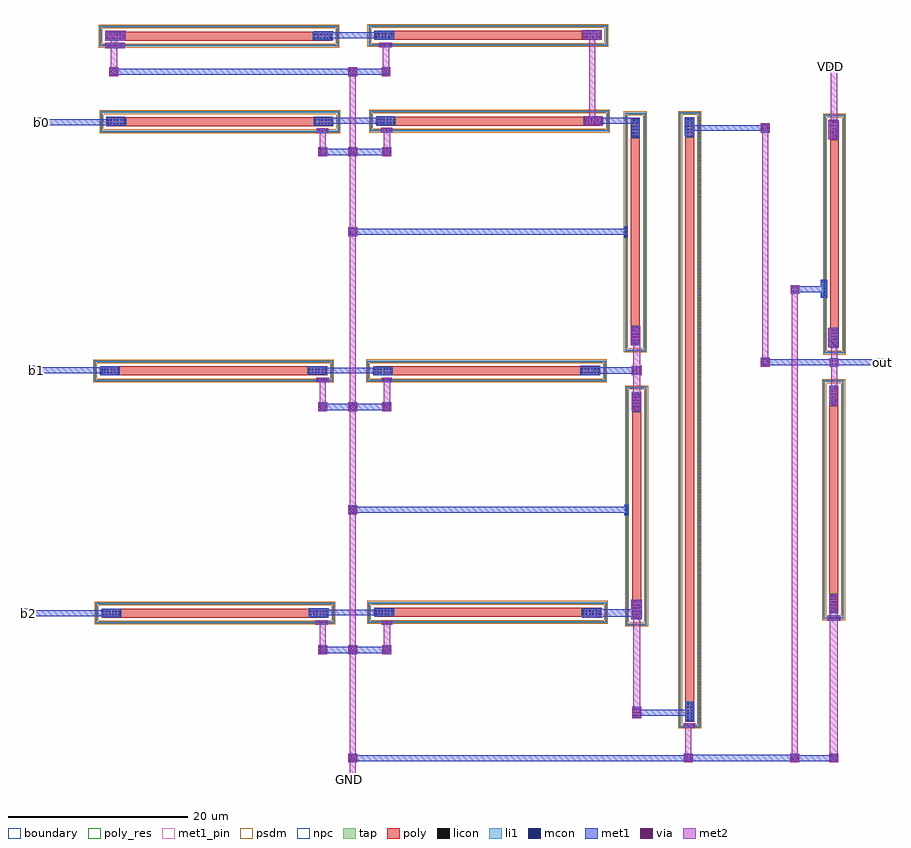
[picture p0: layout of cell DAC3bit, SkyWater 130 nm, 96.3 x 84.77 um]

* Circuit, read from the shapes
.subckt DAC3bit GND VDD b0 b1 b2 out
R1 sky130_fd_pr__res_generic_po_2VQQNW_7/R1 b1 sky130_fd_pr__res_generic_po w=1 l=21
R2 sky130_fd_pr__res_generic_po_2VQQNW_5/R1 b2 sky130_fd_pr__res_generic_po w=1 l=21
R3 sky130_fd_pr__res_generic_po_2VQQNW_11/R1 GND sky130_fd_pr__res_generic_po w=1 l=21
R4 sky130_fd_pr__res_generic_po_2VQQNW_10/R1 b0 sky130_fd_pr__res_generic_po w=1 l=21
R5 sky130_fd_pr__res_generic_po_2VQQNW_3/R1 sky130_fd_pr__res_generic_po_2VQQNW_7/R1 sky130_fd_pr__res_generic_po w=1 l=21
R6 sky130_fd_pr__res_generic_po_2VQQNW_3/R2 sky130_fd_pr__res_generic_po_2VQQNW_5/R1 sky130_fd_pr__res_generic_po w=1 l=21
R7 sky130_fd_pr__res_generic_po_2VQQNW_9/R1 sky130_fd_pr__res_generic_po_2VQQNW_11/R1 sky130_fd_pr__res_generic_po w=1 l=21
R8 sky130_fd_pr__res_generic_po_2VQQNW_9/R1 sky130_fd_pr__res_generic_po_2VQQNW_10/R1 sky130_fd_pr__res_generic_po w=1 l=21
R9 sky130_fd_pr__res_generic_po_2VQQNW_9/R1 sky130_fd_pr__res_generic_po_2VQQNW_3/R1 sky130_fd_pr__res_generic_po w=1 l=21
R10 sky130_fd_pr__res_generic_po_2VQQNW_3/R1 sky130_fd_pr__res_generic_po_2VQQNW_3/R2 sky130_fd_pr__res_generic_po w=1 l=21
R11 out sky130_fd_pr__res_generic_po_2VQQNW_3/R2 sky130_fd_pr__res_generic_po w=1 l=63
R12 out GND sky130_fd_pr__res_generic_po w=1 l=21
R13 VDD out sky130_fd_pr__res_generic_po w=1 l=21
.ends

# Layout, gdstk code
from math import pi, radians
import gdstk
lib = gdstk.Library(unit=1e-6, precision=1e-09)
def R(c, l, rs):  # rectangles x0, y0, x1, y1
    for r in rs: c.add(gdstk.rectangle(r[:2], r[2:], *l))
def A(c, l, x, y, w, h, nx, ny, dx, dy):  # array of equal rectangles
    R(c, l, [(x+i*dx, y+j*dy, x+i*dx+w, y+j*dy+h) for i in range(nx) for j in range(ny)])
tap = (65, 44)
poly_res = (66, 13)
poly = (66, 20)
licon = (66, 44)
li1 = (67, 20)
mcon = (67, 44)
met1_pin = (68, 16)
met1 = (68, 20)
via = (68, 44)
met2 = (69, 20)
psdm = (94, 20)
npc = (95, 20)
boundary = (235, 4)

sky130_fd_pr__res_generi = lib.new_cell('sky130_fd_pr__res_generic_po_2VQQNW')
R(sky130_fd_pr__res_generi, tap, [(-1.15,-13.3,1.15,-13.13), (-1.15,-13.13,-0.98,13.13), (0.98,-13.13,1.15,13.13), (-1.15,13.13,1.15,13.3)])
R(sky130_fd_pr__res_generi, poly_res, [(-0.5,-10.5,0.5,10.5)])
R(sky130_fd_pr__res_generi, poly, [(-0.5,-12.65,0.5,12.65)])
A(sky130_fd_pr__res_generi, licon, -0.595, -13.3, 0.17, 0.17, 4, 2, 0.34, 26.43)
A(sky130_fd_pr__res_generi, licon, -1.15, -12.665, 0.17, 0.17, 1, 75, 0, 0.34)
A(sky130_fd_pr__res_generi, licon, 0.98, -12.665, 0.17, 0.17, 1, 75, 0, 0.34)
R(sky130_fd_pr__res_generi, licon, [(-0.255,-12.57,-0.085,-12.4), (0.085,-12.57,0.255,-12.4), (-0.255,12.4,-0.085,12.57), (0.085,12.4,0.255,12.57)])
R(sky130_fd_pr__res_generi, li1, [(-1.15,-13.3,1.15,-13.13), (-1.15,-13.13,-0.98,13.13), (0.98,-13.13,1.15,13.13), (-0.5,-12.57,0.5,-12.4), (-0.42,-12.4,0.42,-10.585), (-0.42,10.585,0.42,12.4), (-0.5,12.4,0.5,12.57), (-1.15,13.13,1.15,13.3)])
A(sky130_fd_pr__res_generi, mcon, -0.265, -12.565, 0.17, 0.17, 1, 6, 0, 0.36)
A(sky130_fd_pr__res_generi, mcon, 0.095, -12.565, 0.17, 0.17, 1, 6, 0, 0.36)
A(sky130_fd_pr__res_generi, mcon, -0.265, 10.59, 0.17, 0.17, 1, 6, 0, 0.36)
A(sky130_fd_pr__res_generi, mcon, 0.095, 10.59, 0.17, 0.17, 1, 6, 0, 0.36)
R(sky130_fd_pr__res_generi, met1, [(-0.45,-12.63,0.45,-10.525), (-0.45,10.525,0.45,12.63)])
R(sky130_fd_pr__res_generi, psdm, [(-1.275,-13.425,1.275,-13.005), (-1.275,-13.005,-0.855,13.005), (0.855,-13.005,1.275,13.005), (-1.275,13.005,1.275,13.425)])
R(sky130_fd_pr__res_generi, npc, [(-0.355,-12.67,0.355,-12.3), (-0.355,12.3,0.355,12.67)])
R(sky130_fd_pr__res_generi, boundary, [(-1.065,-13.215,1.065,13.215)])
sky130_fd_pr__res_generi.add(gdstk.Label('B', (0,-13.215), layer=67, texttype=5))
sky130_fd_pr__res_generi.add(gdstk.Label('R1', (0,12.485), layer=67, texttype=5))
sky130_fd_pr__res_generi.add(gdstk.Label('R2', (0,-12.485), layer=67, texttype=5))

c_sky130_fd_pr__res_generi = lib.new_cell('sky130_fd_pr__res_generic_po_9W8GJE')
R(c_sky130_fd_pr__res_generi, tap, [(-1.15,-34.3,1.15,-34.13), (-1.15,-34.13,-0.98,34.13), (0.98,-34.13,1.15,34.13), (-1.15,34.13,1.15,34.3)])
R(c_sky130_fd_pr__res_generi, poly_res, [(-0.5,-31.5,0.5,31.5)])
R(c_sky130_fd_pr__res_generi, poly, [(-0.5,-33.65,0.5,33.65)])
A(c_sky130_fd_pr__res_generi, licon, -0.595, -34.3, 0.17, 0.17, 4, 2, 0.34, 68.43)
A(c_sky130_fd_pr__res_generi, licon, -1.15, -33.745, 0.17, 0.17, 1, 199, 0, 0.34)
A(c_sky130_fd_pr__res_generi, licon, 0.98, -33.745, 0.17, 0.17, 1, 199, 0, 0.34)
R(c_sky130_fd_pr__res_generi, licon, [(-0.255,-33.57,-0.085,-33.4), (0.085,-33.57,0.255,-33.4), (-0.255,33.4,-0.085,33.57), (0.085,33.4,0.255,33.57)])
R(c_sky130_fd_pr__res_generi, li1, [(-1.15,-34.3,1.15,-34.13), (-1.15,-34.13,-0.98,34.13), (0.98,-34.13,1.15,34.13), (-0.5,-33.57,0.5,-33.4), (-0.42,-33.4,0.42,-31.585), (-0.42,31.585,0.42,33.4), (-0.5,33.4,0.5,33.57), (-1.15,34.13,1.15,34.3)])
A(c_sky130_fd_pr__res_generi, mcon, -0.265, -33.565, 0.17, 0.17, 1, 6, 0, 0.36)
A(c_sky130_fd_pr__res_generi, mcon, 0.095, -33.565, 0.17, 0.17, 1, 6, 0, 0.36)
A(c_sky130_fd_pr__res_generi, mcon, -0.265, 31.59, 0.17, 0.17, 1, 6, 0, 0.36)
A(c_sky130_fd_pr__res_generi, mcon, 0.095, 31.59, 0.17, 0.17, 1, 6, 0, 0.36)
R(c_sky130_fd_pr__res_generi, met1, [(-0.45,-33.63,0.45,-31.525), (-0.45,31.525,0.45,33.63)])
R(c_sky130_fd_pr__res_generi, psdm, [(-1.275,-34.425,1.275,-34.005), (-1.275,-34.005,-0.855,34.005), (0.855,-34.005,1.275,34.005), (-1.275,34.005,1.275,34.425)])
R(c_sky130_fd_pr__res_generi, npc, [(-0.355,-33.67,0.355,-33.3), (-0.355,33.3,0.355,33.67)])
R(c_sky130_fd_pr__res_generi, boundary, [(-1.065,-34.215,1.065,34.215)])
c_sky130_fd_pr__res_generi.add(gdstk.Label('B', (0,-34.215), layer=67, texttype=5))
c_sky130_fd_pr__res_generi.add(gdstk.Label('R1', (0,33.485), layer=67, texttype=5))
c_sky130_fd_pr__res_generi.add(gdstk.Label('R2', (0,-33.485), layer=67, texttype=5))

dac3bit = lib.new_cell('DAC3bit')
R(dac3bit, li1, [(8.1,-63.3,8.7,-62.7), (8,-61.1,8.8,-60.3), (45.4,-61.1,46.2,-60.3), (57.3,-61.1,58.1,-60.3), (61.65,-61.1,62.45,-60.3), (45.4,-57.25,46.5,-56.95), (39.65,-56.15,40.45,-55.1), (4.65,-49.05,5.45,-48.25), (8,-49.05,8.8,-48.25), (11.8,-49.05,12.6,-48.25), (4.35,-45.75,5.5,-45.45), (11.7,-45.75,12.7,-45.5), (61.45,-45.3,62.65,-44.9), (38.75,-33.55,39.05,-32.55), (8,-33.4,8.8,-32.6), (4.65,-21.95,5.45,-21.15), (8,-21.95,8.8,-21.15), (11.8,-21.95,12.6,-21.15), (4.4,-18.7,5.6,-18.4), (11.75,-18.7,12.65,-18.4), (39.6,-17.9,40.5,-17.05), (54,-16.95,54.8,-16.15), (61.7,-16.95,62.45,-16.2), (60.7,-9.25,61.2,-7.45), (57.35,-8.8,58.1,-8.05), (38.75,-2.55,39,-1.55), (8,-2.4,8.8,-1.6), (4.65,6.5,5.45,7.3), (8,6.5,8.8,7.3), (11.8,6.5,12.6,7.3), (4.5,9.1,5.55,9.45), (11.65,9.15,12.7,9.5), (54,9.15,54.8,10), (-18.65,15.45,-17.85,16.25), (8,15.45,8.8,16.25), (11.7,15.45,12.5,16.25), (61.8,16.05,62.35,16.6), (-19.1,18.55,-17.15,19), (11.45,18.65,12.7,19)])
A(dac3bit, mcon, 45.505, -57.185, 0.17, 0.17, 3, 1, 0.36, 0)
A(dac3bit, mcon, 39.785, -56.07, 0.17, 0.17, 1, 3, 0, 0.36)
A(dac3bit, mcon, 40.145, -56.07, 0.17, 0.17, 1, 3, 0, 0.36)
A(dac3bit, mcon, 11.755, -45.71, 0.17, 0.17, 3, 2, 0.36, 27.075)
A(dac3bit, mcon, 4.48, -45.685, 0.17, 0.17, 3, 1, 0.36, 0)
A(dac3bit, mcon, 61.605, -45.185, 0.17, 0.17, 3, 1, 0.36, 0)
A(dac3bit, mcon, 38.815, -33.495, 0.17, 0.17, 1, 3, 0, 0.36)
A(dac3bit, mcon, 4.555, -18.635, 0.17, 0.17, 3, 1, 0.36, 0)
A(dac3bit, mcon, 39.605, -17.74, 0.17, 0.17, 3, 2, 0.36, 0.36)
A(dac3bit, mcon, 60.865, -9.155, 0.17, 0.17, 1, 5, 0, 0.36)
A(dac3bit, mcon, 38.79, -2.495, 0.17, 0.17, 1, 3, 0, 0.36)
A(dac3bit, mcon, 4.58, 9.19, 0.17, 0.17, 3, 1, 0.36, 0)
A(dac3bit, mcon, 11.73, 9.24, 0.17, 0.17, 3, 1, 0.36, 0)
A(dac3bit, mcon, -18.93, 18.69, 0.17, 0.17, 5, 1, 0.36, 0)
A(dac3bit, mcon, 11.45, 18.74, 0.17, 0.17, 4, 1, 0.36, 0)
R(dac3bit, mcon, [(8.135,-63.265,8.305,-63.095), (8.495,-63.265,8.665,-63.095), (8.135,-62.905,8.305,-62.735), (8.495,-62.905,8.665,-62.735), (8.135,-60.965,8.305,-60.795), (8.495,-60.965,8.665,-60.795), (45.535,-60.965,45.705,-60.795), (45.895,-60.965,46.065,-60.795), (57.435,-60.965,57.605,-60.795), (57.795,-60.965,57.965,-60.795), (61.785,-60.965,61.955,-60.795), (62.145,-60.965,62.315,-60.795), (8.135,-60.605,8.305,-60.435), (8.495,-60.605,8.665,-60.435), (45.535,-60.605,45.705,-60.435), (45.895,-60.605,46.065,-60.435), (57.435,-60.605,57.605,-60.435), (57.795,-60.605,57.965,-60.435), (61.785,-60.605,61.955,-60.435), (62.145,-60.605,62.315,-60.435), (4.785,-48.915,4.955,-48.745), (5.145,-48.915,5.315,-48.745), (8.135,-48.915,8.305,-48.745), (8.495,-48.915,8.665,-48.745), (11.935,-48.915,12.105,-48.745), (12.295,-48.915,12.465,-48.745), (4.785,-48.555,4.955,-48.385), (5.145,-48.555,5.315,-48.385), (8.135,-48.555,8.305,-48.385), (8.495,-48.555,8.665,-48.385), (11.935,-48.555,12.105,-48.385), (12.295,-48.555,12.465,-48.385), (8.135,-33.265,8.305,-33.095), (8.495,-33.265,8.665,-33.095), (8.135,-32.905,8.305,-32.735), (8.495,-32.905,8.665,-32.735), (4.785,-21.815,4.955,-21.645), (5.145,-21.815,5.315,-21.645), (8.135,-21.815,8.305,-21.645), (8.495,-21.815,8.665,-21.645), (11.935,-21.815,12.105,-21.645), (12.295,-21.815,12.465,-21.645), (4.785,-21.455,4.955,-21.285), (5.145,-21.455,5.315,-21.285), (8.135,-21.455,8.305,-21.285), (8.495,-21.455,8.665,-21.285), (11.935,-21.455,12.105,-21.285), (12.295,-21.455,12.465,-21.285), (61.81,-16.84,61.98,-16.67), (62.17,-16.84,62.34,-16.67), (54.135,-16.815,54.305,-16.645), (54.495,-16.815,54.665,-16.645), (61.81,-16.48,61.98,-16.31), (62.17,-16.48,62.34,-16.31), (54.135,-16.455,54.305,-16.285), (54.495,-16.455,54.665,-16.285), (57.46,-8.69,57.63,-8.52), (57.82,-8.69,57.99,-8.52), (57.46,-8.33,57.63,-8.16), (57.82,-8.33,57.99,-8.16), (8.135,-2.265,8.305,-2.095), (8.495,-2.265,8.665,-2.095), (8.135,-1.905,8.305,-1.735), (8.495,-1.905,8.665,-1.735), (4.785,6.635,4.955,6.805), (5.145,6.635,5.315,6.805), (8.135,6.635,8.305,6.805), (8.495,6.635,8.665,6.805), (11.935,6.635,12.105,6.805), (12.295,6.635,12.465,6.805), (4.785,6.995,4.955,7.165), (5.145,6.995,5.315,7.165), (8.135,6.995,8.305,7.165), (8.495,6.995,8.665,7.165), (11.935,6.995,12.105,7.165), (12.295,6.995,12.465,7.165), (54.135,9.31,54.305,9.48), (54.495,9.31,54.665,9.48), (54.135,9.67,54.305,9.84), (54.495,9.67,54.665,9.84), (-18.515,15.585,-18.345,15.755), (-18.155,15.585,-17.985,15.755), (8.135,15.585,8.305,15.755), (8.495,15.585,8.665,15.755), (11.835,15.585,12.005,15.755), (12.195,15.585,12.365,15.755), (-18.515,15.945,-18.345,16.115), (-18.155,15.945,-17.985,16.115), (8.135,15.945,8.305,16.115), (8.495,15.945,8.665,16.115), (11.835,15.945,12.005,16.115), (12.195,15.945,12.365,16.115), (61.81,16.06,61.98,16.23), (62.17,16.06,62.34,16.23), (61.81,16.42,61.98,16.59), (62.17,16.42,62.34,16.59)])
R(dac3bit, met1_pin, [(7.9,-63.6,8.1,-62.6), (-28.3,-45.05,-27.3,-44.05), (-27.4,-17.95,-26.4,-16.95), (67,-17.1,68,-16.1), (-26.8,9.7,-25.8,10.7), (61.55,15.95,61.75,16.95)])
R(dac3bit, met1, [(7.9,-63.6,8.9,-62.6), (7.9,-61.2,8.9,-61.05), (45.3,-61.2,46.3,-61.05), (57.2,-61.2,58.2,-61.05), (61.55,-61.2,62.55,-61.05), (7.9,-61.05,62.55,-60.4), (7.9,-60.4,8.9,-60.2), (45.3,-60.4,58.2,-60.35), (61.55,-60.4,62.55,-60.2), (45.3,-60.35,46.3,-60.2), (57.2,-60.35,58.2,-60.2), (45.3,-57.35,46.6,-56.85), (45.5,-56.6,46.5,-56), (39.55,-56.25,40.55,-56), (39.55,-56,46.5,-55.3), (39.55,-55.3,40.55,-55), (45.5,-55.3,46.5,-54.4), (4.55,-49.15,5.55,-49), (7.9,-49.15,8.9,-49), (11.7,-49.15,12.7,-49), (4.55,-49,12.7,-48.3), (4.55,-48.3,5.55,-48.15), (7.9,-48.3,8.9,-48.15), (11.7,-48.3,12.7,-48.15), (4.25,-45.85,5.6,-45.35), (11.6,-45.85,12.8,-45.4), (61.35,-45.4,62.75,-44.8), (39.45,-45.25,40.6,-44.95), (-28.3,-45.05,-27.3,-44.9), (3.5,-45.05,3.65,-44.85), (34,-45.05,36.2,-44.95), (-19.6,-45,-17.55,-44.9), (34,-44.95,40.6,-44.1), (-28.3,-44.9,-17.5,-44.2), (3.5,-44.85,3.6,-44.8), (3.5,-44.8,13,-44.15), (61.55,-44.55,62.5,-42.4), (-28.3,-44.2,-27.3,-44.05), (-19.6,-44.2,-17.55,-44.05), (3.5,-44.15,5.7,-44), (10.8,-44.15,13,-44), (34,-44.1,36.2,-44), (39.45,-44.1,40.6,-43.05), (38.65,-33.65,39.15,-33.35), (7.9,-33.5,8.9,-33.35), (7.9,-33.35,39.15,-32.65), (7.9,-32.65,8.9,-32.5), (38.65,-32.65,39.15,-32.45), (4.55,-22.05,5.55,-21.9), (7.9,-22.05,8.9,-21.9), (11.7,-22.05,12.7,-21.9), (39.5,-22.05,40.55,-19.9), (4.55,-21.9,12.7,-21.2), (61.55,-21.4,62.5,-19.2), (4.55,-21.2,5.55,-21.05), (7.9,-21.2,8.9,-21.05), (11.7,-21.2,12.7,-21.05), (4.3,-18.8,5.7,-18.3), (11.65,-18.8,12.75,-18.3), (-19.75,-18,-17.65,-17.8), (10.65,-18,12.75,-17.8), (33.75,-18,36,-17.85), (39.5,-18,39.65,-17.95), (40.45,-18,40.6,-17.95), (-27.4,-17.95,-26.4,-17.8), (3.4,-17.95,5.5,-17.8), (39.5,-17.95,40.6,-17.85), (33.75,-17.85,40.6,-17.1), (-27.4,-17.8,-17.6,-17.1), (3.35,-17.8,12.85,-17.15), (3.4,-17.15,5.5,-17), (10.65,-17.15,12.75,-17.05), (-27.4,-17.1,-26.4,-16.95), (-19.75,-17.1,-17.65,-17), (33.75,-17.1,36,-16.95), (39.5,-17.1,40.6,-17), (67,-17.1,68,-16.9), (53.9,-17.05,54.9,-16.9), (61.6,-17.05,62.55,-16.9), (39.5,-17,39.65,-16.95), (40.45,-17,40.6,-16.95), (53.9,-16.9,68,-16.25), (53.9,-16.25,54.9,-16.05), (61.6,-16.25,62.55,-16.1), (67,-16.25,68,-16.1), (61.45,-14.9,62.5,-12.75), (39.4,-14.65,40.45,-12.5), (61.5,-12.75,62.45,-12.7), (60.6,-9.35,61.3,-8.75), (57.25,-8.9,58.2,-8.75), (57.25,-8.75,61.3,-8.1), (57.25,-8.1,58.2,-7.95), (60.6,-8.1,61.3,-7.35), (38.65,-2.65,39.05,-2.35), (7.9,-2.5,8.9,-2.35), (7.9,-2.35,39.05,-1.65), (7.9,-1.65,8.9,-1.5), (38.65,-1.65,39.05,-1.45), (4.55,6.4,5.55,6.55), (7.9,6.4,8.9,6.55), (11.7,6.4,12.7,6.55), (4.55,6.55,12.7,7.25), (4.55,7.25,5.55,7.4), (7.9,7.25,8.9,7.4), (11.7,7.25,12.7,7.4), (61.45,8.3,62.55,10.5), (39.45,8.5,40.4,10.05), (45.4,8.65,46.5,9.25), (4.4,9,5.65,9.55), (11.55,9.05,12.8,9.6), (53.9,9.05,54.9,9.25), (45.4,9.25,54.9,9.9), (-26.8,9.7,-25.8,9.85), (-26.8,9.85,-17,10.55), (4.05,9.85,6.15,10.05), (34.15,9.85,36.3,10.05), (11,9.9,13.1,10.05), (45.4,9.9,46.5,10.75), (53.9,9.9,54.9,10.1), (4.05,10.05,13.1,10.7), (34.15,10.05,40.4,10.7), (-26.8,10.55,-25.8,10.7), (-19.1,10.55,-17,10.8), (4.05,10.7,6.15,10.8), (11,10.7,13.1,10.85), (34.15,10.7,36.3,10.85), (-18.75,15.35,-17.75,15.5), (7.9,15.35,8.9,15.5), (11.6,15.35,12.6,15.5), (-18.75,15.5,12.6,16.2), (61.55,15.95,62.55,16.95), (-18.75,16.2,-17.75,16.35), (7.9,16.2,8.9,16.35), (11.6,16.2,12.6,16.35), (-19.2,18.45,-17.05,19.1), (11.35,18.55,12.8,19.1), (-19.2,19.3,-16.95,20.35), (4.05,19.35,6.2,19.6), (10.8,19.4,12.95,19.6), (34,19.45,36.15,20.45), (3.95,19.6,13.005,20.25), (4.05,20.25,6.2,20.35), (10.8,20.25,12.95,20.4)])
A(dac3bit, via, 8.005, -61.095, 0.15, 0.15, 3, 3, 0.32, 0.32)
A(dac3bit, via, 45.405, -61.095, 0.15, 0.15, 3, 3, 0.32, 0.32)
A(dac3bit, via, 57.305, -61.095, 0.15, 0.15, 3, 3, 0.32, 0.32)
A(dac3bit, via, 61.655, -61.095, 0.15, 0.15, 3, 3, 0.32, 0.32)
A(dac3bit, via, 45.555, -57.175, 0.15, 0.15, 3, 1, 0.32, 0)
A(dac3bit, via, 39.655, -56.02, 0.15, 0.15, 3, 3, 0.32, 0.32)
A(dac3bit, via, 4.655, -49.045, 0.15, 0.15, 3, 3, 0.32, 0.32)
A(dac3bit, via, 8.005, -49.045, 0.15, 0.15, 3, 3, 0.32, 0.32)
A(dac3bit, via, 11.805, -49.045, 0.15, 0.15, 3, 3, 0.32, 0.32)
A(dac3bit, via, 11.805, -45.7, 0.15, 0.15, 3, 2, 0.32, 23.755)
A(dac3bit, via, 4.37, -45.675, 0.15, 0.15, 4, 1, 0.32, 0)
A(dac3bit, via, 61.495, -45.175, 0.15, 0.15, 4, 1, 0.32, 0)
A(dac3bit, via, 39.63, -45, 0.15, 0.15, 3, 6, 0.32, 0.32)
A(dac3bit, via, 61.655, -44.35, 0.15, 0.15, 3, 6, 0.32, 0.32)
A(dac3bit, via, 8.005, -33.395, 0.15, 0.15, 3, 3, 0.32, 0.32)
A(dac3bit, via, 4.655, -21.945, 0.15, 0.15, 3, 3, 0.32, 0.32)
A(dac3bit, via, 8.005, -21.945, 0.15, 0.15, 3, 3, 0.32, 0.32)
A(dac3bit, via, 39.63, -21.825, 0.15, 0.15, 3, 6, 0.32, 0.32)
A(dac3bit, via, 11.805, -21.625, 0.15, 0.15, 3, 2, 0.32, 0.32)
A(dac3bit, via, 61.79, -21.15, 0.15, 0.15, 1, 6, 0, 0.32)
A(dac3bit, via, 62.11, -21.15, 0.15, 0.15, 1, 6, 0, 0.32)
A(dac3bit, via, 4.445, -18.625, 0.15, 0.15, 4, 1, 0.32, 0)
A(dac3bit, via, 11.805, -18.625, 0.15, 0.15, 3, 2, 0.32, 25.13)
A(dac3bit, via, 39.655, -17.87, 0.15, 0.15, 3, 3, 0.32, 0.32)
A(dac3bit, via, 54.005, -16.945, 0.15, 0.15, 3, 3, 0.32, 0.32)
A(dac3bit, via, 61.74, -14.7, 0.15, 0.15, 1, 6, 0, 0.32)
A(dac3bit, via, 62.06, -14.7, 0.15, 0.15, 1, 6, 0, 0.32)
A(dac3bit, via, 39.53, -14.45, 0.15, 0.15, 3, 6, 0.32, 0.32)
A(dac3bit, via, 8.005, -2.395, 0.15, 0.15, 3, 3, 0.32, 0.32)
A(dac3bit, via, 4.655, 6.505, 0.15, 0.15, 3, 3, 0.32, 0.32)
A(dac3bit, via, 8.005, 6.505, 0.15, 0.15, 3, 3, 0.32, 0.32)
A(dac3bit, via, 11.805, 6.825, 0.15, 0.15, 3, 2, 0.32, 0.32)
A(dac3bit, via, 61.58, 8.5, 0.15, 0.15, 3, 6, 0.32, 0.32)
A(dac3bit, via, 54.005, 9.18, 0.15, 0.15, 3, 3, 0.32, 0.32)
A(dac3bit, via, 4.63, 9.2, 0.15, 0.15, 3, 1, 0.32, 0)
A(dac3bit, via, 11.78, 9.25, 0.15, 0.15, 3, 1, 0.32, 0)
A(dac3bit, via, 34.325, 9.955, 0.15, 0.15, 6, 3, 0.32, 0.32)
A(dac3bit, via, -18.645, 15.455, 0.15, 0.15, 3, 3, 0.32, 0.32)
A(dac3bit, via, 8.005, 15.455, 0.15, 0.15, 3, 3, 0.32, 0.32)
A(dac3bit, via, 11.705, 15.455, 0.15, 0.15, 3, 3, 0.32, 0.32)
A(dac3bit, via, -19, 18.7, 0.15, 0.15, 6, 1, 0.32, 0)
A(dac3bit, via, 11.52, 18.75, 0.15, 0.15, 4, 1, 0.32, 0)
A(dac3bit, via, -18.925, 19.48, 0.15, 0.15, 6, 3, 0.32, 0.32)
A(dac3bit, via, 34.175, 19.69, 0.15, 0.15, 6, 2, 0.32, 0.32)
R(dac3bit, via, [(8.165,-63.235,8.315,-63.085), (8.485,-63.235,8.635,-63.085), (8.165,-62.915,8.315,-62.765), (8.485,-62.915,8.635,-62.765), (61.84,-16.81,61.99,-16.66), (62.16,-16.81,62.31,-16.66), (61.84,-16.49,61.99,-16.34), (62.16,-16.49,62.31,-16.34), (57.49,-8.66,57.64,-8.51), (57.81,-8.66,57.96,-8.51), (57.49,-8.34,57.64,-8.19), (57.81,-8.34,57.96,-8.19), (61.84,16.09,61.99,16.24), (62.16,16.09,62.31,16.24), (61.84,16.41,61.99,16.56), (62.16,16.41,62.31,16.56)])
R(dac3bit, met2, [(8,-63.4,8.8,-62.6), (8.05,-62.6,8.75,-61.2), (7.9,-61.2,8.9,-60.2), (45.3,-61.2,46.3,-60.2), (57.2,-61.2,58.2,-60.2), (61.55,-61.2,62.55,-60.2), (8.05,-60.2,8.75,-49.15), (45.45,-60.2,46.15,-57.35), (57.35,-60.2,58.05,-8.9), (61.6,-60.2,62.5,-45.4), (45.3,-57.35,46.6,-56.85), (39.55,-56.25,40.55,-55), (39.65,-55,40.45,-45.2), (4.55,-49.15,5.55,-48.15), (7.9,-49.15,8.9,-48.15), (11.7,-49.15,12.7,-48.15), (4.7,-48.15,5.4,-45.85), (8.05,-48.15,8.75,-33.5), (11.85,-48.15,12.55,-45.85), (4.25,-45.85,5.6,-45.35), (11.6,-45.85,12.8,-45.4), (61.35,-45.4,62.75,-44.8), (39.5,-45.2,40.55,-43.05), (61.6,-44.8,62.5,-44.55), (61.55,-44.55,62.5,-42.4), (7.9,-33.5,8.9,-32.5), (8.05,-32.5,8.75,-22.05), (4.55,-22.05,5.55,-21.05), (7.9,-22.05,8.9,-21.05), (11.7,-22.05,12.7,-21.05), (39.5,-22,40.55,-19.85), (61.55,-21.4,62.5,-19.2), (4.7,-21.05,5.4,-18.8), (8.05,-21.05,8.75,-2.5), (11.85,-21.05,12.55,-18.8), (39.65,-19.85,40.45,-18), (61.75,-19.2,62.4,-17.05), (4.3,-18.8,5.7,-18.3), (11.65,-18.8,12.75,-18.3), (39.5,-18,40.6,-16.95), (53.9,-17.05,54.9,-16.05), (61.6,-17.05,62.55,-16.1), (39.65,-16.95,40.45,-14.65), (61.75,-16.1,62.4,-14.9), (54.05,-16.05,54.75,9.05), (61.5,-14.9,62.45,-12.7), (39.4,-14.65,40.45,-12.5), (57.25,-8.9,58.2,-7.95), (7.9,-2.5,8.9,-1.5), (8.05,-1.5,8.75,6.4), (4.55,6.4,5.55,7.4), (7.9,6.4,8.9,7.4), (11.7,6.4,12.7,7.4), (4.7,7.4,5.4,9), (8.05,7.4,8.75,15.35), (11.85,7.4,12.55,9.05), (61.45,8.3,62.55,10.5), (4.4,9,5.65,9.55), (11.55,9.05,12.8,9.6), (53.9,9.05,54.9,10.1), (34.2,9.85,36.2,10.85), (61.7,10.5,62.4,15.95), (34.75,10.85,35.45,19.45), (-18.75,15.35,-17.75,16.35), (7.9,15.35,8.9,16.35), (11.6,15.35,12.6,16.35), (61.7,15.95,62.45,16.7), (-18.6,16.35,-17.9,18.45), (11.75,16.35,12.45,18.55), (-19.2,18.45,-17.05,19.1), (11.35,18.55,12.8,19.1), (-18.6,19.1,-17.9,19.3), (-19.2,19.3,-16.95,20.4), (34.05,19.45,36.15,20.4)])
dac3bit.add(gdstk.Reference(sky130_fd_pr__res_generi, (62.03,-31.89)))
dac3bit.add(gdstk.Reference(sky130_fd_pr__res_generi, (62.12,-2.28)))
dac3bit.add(gdstk.Reference(c_sky130_fd_pr__res_generi, (45.97,-22.98)))
dac3bit.add(gdstk.Reference(sky130_fd_pr__res_generi, (40.05,-32.58)))
dac3bit.add(gdstk.Reference(sky130_fd_pr__res_generi, (39.91,-2.01), rotation=pi))
dac3bit.add(gdstk.Reference(sky130_fd_pr__res_generi, (23.43,-44.46), rotation=pi/2))
dac3bit.add(gdstk.Reference(sky130_fd_pr__res_generi, (-6.98,-44.53), rotation=pi/2))
dac3bit.add(gdstk.Reference(sky130_fd_pr__res_generi, (23.3,-17.52), rotation=pi/2))
dac3bit.add(gdstk.Reference(sky130_fd_pr__res_generi, (-7.13,-17.53), rotation=pi/2))
dac3bit.add(gdstk.Reference(sky130_fd_pr__res_generi, (23.65,10.33), rotation=3*pi/2))
dac3bit.add(gdstk.Reference(sky130_fd_pr__res_generi, (-6.43,10.26), rotation=3*pi/2))
dac3bit.add(gdstk.Reference(sky130_fd_pr__res_generi, (23.45,19.89), rotation=pi/2))
dac3bit.add(gdstk.Reference(sky130_fd_pr__res_generi, (-6.52,19.81), rotation=3*pi/2))
dac3bit.add(gdstk.Label('b0', (-26.3,10.2), layer=68, texttype=5))
dac3bit.add(gdstk.Label('b1', (-26.9,-17.45), layer=68, texttype=5))
dac3bit.add(gdstk.Label('b2', (-27.8,-44.55), layer=68, texttype=5))
dac3bit.add(gdstk.Label('VDD', (61.65,16.45), layer=68, texttype=5))
dac3bit.add(gdstk.Label('out', (67.5,-16.6), layer=68, texttype=5))
dac3bit.add(gdstk.Label('GND', (8,-63.1), layer=68, texttype=5))

lib.write_gds('DAC3bit.gds')
